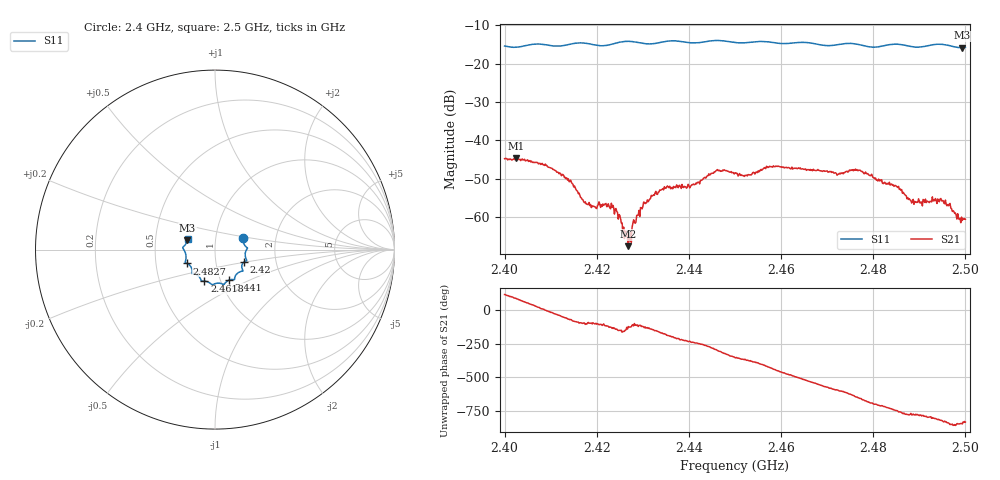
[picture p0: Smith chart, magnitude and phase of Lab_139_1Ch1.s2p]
# Hz S RI R 50
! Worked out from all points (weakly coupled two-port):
!   601 points, 2.4 GHz to 2.5 GHz, reference 50 ohm
!   highest |S21| = -44.60 dB at 2.4025 GHz (marker M1); lowest = -67.6 dB at 2.4268 GHz (marker M2)
!   lowest |S11| = -15.8 dB at 2.4993 GHz (marker M3), VSWR 1.39, Z = 36.5 + j3.83 ohm
!   |S11| at or under -10 dB: start of sweep to end of sweep
!   S12 and S22 are empty: the file has one direction only
!   S11 on the Smith chart (normalised r, x): 2.4 GHz: 1.36, +0.18; 2.42 GHz: 1.36, -0.20; 2.441 GHz: 1.10, -0.39; 2.4618 GHz: 0.84, -0.30; 2.4827 GHz: 0.72, -0.11; 2.5 GHz: 0.73, +0.09
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2.4e9  0.1585 0.063  -0.00274 0.00509  0 0  0 0
2.4025e9  0.1612 0.0335  0.000137 0.00588  0 0  0 0
2.410667e9  0.17 -0.0129  0.00382 -0.00166  0 0  0 0
2.414333e9  0.1732 -0.0521  0.00116 -0.0028  0 0  0 0
2.416667e9  0.1771 -0.0611  -9.73e-05 -0.00177  0 0  0 0
2.42e9  0.1596 -0.0702  -0.000293 -0.00126  0 0  0 0
2.423667e9  0.1505 -0.1037  -0.00094 -0.000946  0 0  0 0
2.426833e9  0.1562 -0.1192  -0.000211 -0.00036  0 0  0 0
2.43e9  0.1364 -0.1248  -0.00068 -0.00118  0 0  0 0
2.433333e9  0.1111 -0.1509  -0.00196 -0.000788  0 0  0 0
2.441e9  0.0787 -0.1697  -0.0014 0.0023  0 0  0 0
2.446167e9  0.0495 -0.1955  0.00192 0.0037  0 0  0 0
2.45e9  0.0284 -0.1873  0.00372 0.000519  0 0  0 0
2.461833e9  -0.0592 -0.1755  -0.00225 -0.00372  0 0  0 0
2.466667e9  -0.0789 -0.1683  -0.00413 -0.000323  0 0  0 0
2.476667e9  -0.1271 -0.1266  0.00141 0.00377  0 0  0 0
2.482667e9  -0.156 -0.0771  0.00273 -2.12e-05  0 0  0 0
2.483333e9  -0.1603 -0.0752  0.00268 -0.000351  0 0  0 0
2.488833e9  -0.1613 -0.0391  0.000755 -0.00126  0 0  0 0
2.495167e9  -0.1781 0.0134  -0.000527 -0.00155  0 0  0 0
2.499333e9  -0.154 0.0512  -0.000541 -0.000724  0 0  0 0
2.5e9  -0.1522 0.0608  -0.000358 -0.000864  0 0  0 0
